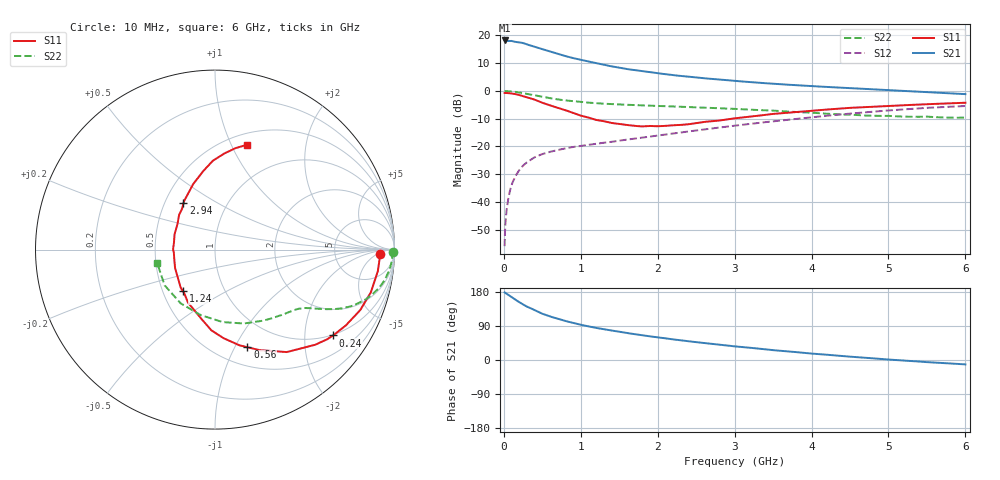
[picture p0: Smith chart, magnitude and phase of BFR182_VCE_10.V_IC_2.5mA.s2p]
! Infineon Technologies  Discrete & RF Semiconductors
! BFR182
! VCE =  10. V,  IC =  2.5 mA
! Common Emitter S-Parameters:  Nov 2015
# GHz  S  MA  R  50
!  f  S11  S21  S12  S22
! GHz  MAG  ANG  MAG  ANG  MAG  ANG  MAG  ANG
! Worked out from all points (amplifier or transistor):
!   210 points, 10 MHz to 6 GHz, reference 50 ohm
!   highest |S21| = 18.2 dB at 10 MHz (marker M1)
!   |S21| within 3 dB of that: start of sweep to 485 MHz
!   unconditionally stable (mu >= 1): 1.397 GHz to 3.156 GHz
!   at 185 MHz: K = 0.21, MSG = 23.4 dB, |S12| = -29.2 dB
!   at 1.52 GHz: K = 1.02, MAG = 12.1 dB, |S12| = -17.8 dB
!   at 6 GHz: K = 0.88, MSG = 2.1 dB, |S12| = -5.4 dB
!   S11 on the Smith chart (normalised r, x): 10 MHz: 21, -7; 240 MHz: 0.98, -2.77; 560 MHz: 0.69, -1.13; 1.24 GHz: 0.63, -0.32; 2.94 GHz: 0.62, +0.36; 6 GHz: 0.62, +1.15
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0.01  0.918 -1.6  8.1 178.5  0.0016 87.9  0.9936 -0.7
0.015  0.9183 -2.4  8.012 177.7  0.0028 85.6  0.9904 -1.1
0.025  0.9178 -3.9  7.922 176.2  0.005 85.3  0.9875 -1.8
0.07  0.9071 -10.7  7.919 170.3  0.0139 83.8  0.9841 -4.8
0.1  0.9001 -15.4  7.949 166.3  0.0201 81.7  0.9776 -6.9
0.15  0.8766 -22.6  7.633 158.9  0.029 76.9  0.9597 -10.3
0.24  0.8138 -36.0  7.321 147.7  0.0436 69.7  0.917 -15.3
0.3  0.77 -43.5  6.884 140.9  0.0518 66.5  0.8838 -18.3
0.4  0.697 -55.0  6.254 131.6  0.0637 61.7  0.834 -21.9
0.5  0.6126 -66.1  5.655 122.1  0.0728 58.0  0.7828 -24.7
0.56  0.5736 -71.6  5.345 117.9  0.077 56.5  0.7557 -25.9
0.7  0.4964 -84.4  4.666 108.6  0.0862 54.0  0.7022 -28.2
0.8  0.45 -92.6  4.237 102.9  0.0922 52.6  0.6746 -29.3
1.02  0.3529 -109.9  3.579 92.1  0.1029 52.1  0.629 -31.3
1.24  0.2934 -127.5  3.078 83.3  0.1135 52.8  0.5958 -33.1
1.6  0.2442 -155.8  2.476 71.2  0.1327 54.0  0.5627 -36.3
2.02  0.2317 170.6  2.067 59.2  0.1588 55.8  0.5354 -41.0
2.94  0.3117 124.3  1.541 37.4  0.2309 55.4  0.4782 -55.6
3.1  0.3316 119.3  1.478 34.2  0.2455 54.6  0.4665 -59.0
4.1  0.4513 97.1  1.199 15.5  0.3463 47.2  0.3964 -87.4
5.1  0.545 83.3  1.016 -0.1  0.4544 35.6  0.3489 -126.9
6  0.6122 72.8  0.875 -11.6  0.535 22.0  0.3305 -166.6
